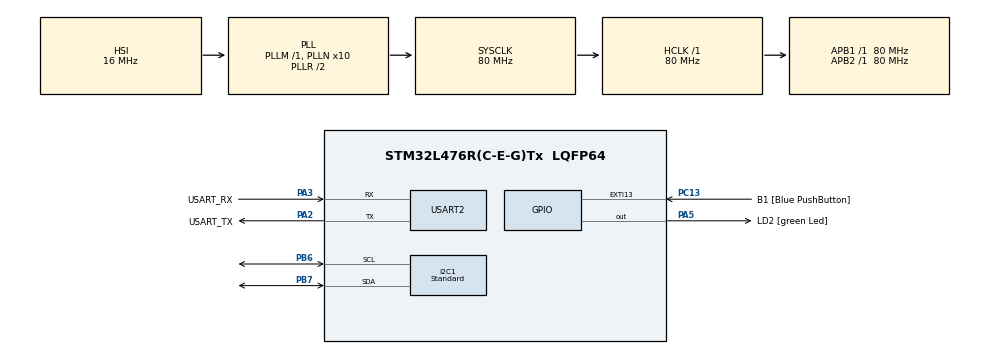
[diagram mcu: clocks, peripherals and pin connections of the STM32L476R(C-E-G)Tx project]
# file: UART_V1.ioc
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I2C1.I2C_Speed_Mode=I2C_Standard
I2C1.Timing=0x10D19CE4
Mcu.Family=STM32L4
Mcu.Name=STM32L476R(C-E-G)Tx
Mcu.Package=LQFP64
NVIC.PriorityGroup=NVIC_PRIORITYGROUP_4
PA13\ (JTMS-SWDIO).GPIO_Label=TMS
PA13\ (JTMS-SWDIO).Mode=Serial_Wire
PA13\ (JTMS-SWDIO).Signal=SYS_JTMS-SWDIO
PA14\ (JTCK-SWCLK).GPIO_Label=TCK
PA14\ (JTCK-SWCLK).Mode=Serial_Wire
PA14\ (JTCK-SWCLK).Signal=SYS_JTCK-SWCLK
PA2.GPIO_Label=USART_TX
PA2.GPIO_Mode=GPIO_MODE_AF_PP
PA2.GPIO_PuPd=GPIO_NOPULL
PA2.GPIO_Speed=GPIO_SPEED_FREQ_VERY_HIGH
PA2.Mode=Asynchronous
PA2.Signal=USART2_TX
PA3.GPIO_Label=USART_RX
PA3.GPIO_Mode=GPIO_MODE_AF_PP
PA3.GPIO_PuPd=GPIO_NOPULL
PA3.GPIO_Speed=GPIO_SPEED_FREQ_VERY_HIGH
PA3.Mode=Asynchronous
PA3.Signal=USART2_RX
PA5.GPIO_Label=LD2 [green Led]
PA5.GPIO_ModeDefaultOutputPP=GPIO_MODE_OUTPUT_PP
PA5.GPIO_PuPd=GPIO_NOPULL
PA5.GPIO_Speed=GPIO_SPEED_FREQ_LOW
PA5.Signal=GPIO_Output
PB3\ (JTDO-TRACESWO).GPIO_Label=SWO
PB3\ (JTDO-TRACESWO).Signal=SYS_JTDO-SWO
PB6.Mode=I2C
PB6.Signal=I2C1_SCL
PB7.Mode=I2C
PB7.Signal=I2C1_SDA
PC13.GPIO_Label=B1 [Blue PushButton]
PC13.GPIO_ModeDefaultEXTI=GPIO_MODE_IT_FALLING
PC13.GPIO_PuPd=GPIO_NOPULL
PC13.Signal=GPXTI13
PC14-OSC32_IN\ (PC14).Mode=LSE-External-Oscillator
PC14-OSC32_IN\ (PC14).Signal=RCC_OSC32_IN
PC15-OSC32_OUT\ (PC15).Mode=LSE-External-Oscillator
PC15-OSC32_OUT\ (PC15).Signal=RCC_OSC32_OUT
PH0-OSC_IN\ (PH0).Signal=RCC_OSC_IN
PH1-OSC_OUT\ (PH1).Signal=RCC_OSC_OUT
ProjectManager.HeapSize=0x200
ProjectManager.StackSize=0x400
ProjectManager.TargetToolchain=CMake
RCC.ADCFreq_Value=64000000
RCC.AHBFreq_Value=80000000
RCC.APB1Freq_Value=80000000
RCC.APB1TimFreq_Value=80000000
RCC.APB2Freq_Value=80000000
RCC.APB2TimFreq_Value=80000000
RCC.CortexFreq_Value=80000000
RCC.HCLKFreq_Value=80000000
RCC.HSE_VALUE=8000000
RCC.HSI_VALUE=16000000
RCC.MSI_VALUE=4000000
RCC.PLLN=10
RCC.PLLSourceVirtual=RCC_PLLSOURCE_HSI
RCC.PREFETCH_ENABLE=1
RCC.SYSCLKFreq_VALUE=80000000
RCC.SYSCLKSource=RCC_SYSCLKSOURCE_PLLCLK
RCC.USBFreq_Value=64000000
RCC.VCOOutputFreq_Value=160000000
USART2.VirtualMode-Asynchronous=VM_ASYNC
board=NUCLEO-L476RG

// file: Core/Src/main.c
/* USER CODE BEGIN Header */
/**
  ******************************************************************************
  * @file           : main.c
  * @brief          : Main program body
  ******************************************************************************
  * @attention
  *
  * Copyright (c) 2025 STMicroelectronics.
  * All rights reserved.
  *
  * This software is licensed under terms that can be found in the LICENSE file
  * in the root directory of this software component.
  * If no LICENSE file comes with this software, it is provided AS-IS.
  *
  ******************************************************************************
  */
/* USER CODE END Header */
#include "main.h"

/* USER CODE BEGIN Includes */
#include <string.h>
#include <stdio.h>
#include "bmp280.h"

/* USER CODE END Includes */

/* USER CODE BEGIN PTD */
#define uart_buffer_max 50

/* USER CODE END PTD */

I2C_HandleTypeDef hi2c1;

UART_HandleTypeDef huart2;

/* USER CODE BEGIN PV */
char msg[] = "Hello\n\r";
char recei_txt[uart_buffer_max];
BMP280_HandleTypedef bmp280;

float pressure, temperature, humidity;

uint16_t size;
uint8_t Data[256];
uint8_t str[256];

/* USER CODE END PV */

void SystemClock_Config(void);
static void MX_GPIO_Init(void);
static void MX_USART2_UART_Init(void);
static void MX_I2C1_Init(void);

int main(void)
{

  /* MCU Configuration--------------------------------------------------------*/

  /* Reset of all peripherals, Initializes the Flash interface and the Systick. */
  HAL_Init();

  /* Configure the system clock */
  SystemClock_Config();

  /* Initialize all configured peripherals */
  MX_GPIO_Init();
  MX_USART2_UART_Init();
  MX_I2C1_Init();
  /* USER CODE BEGIN 2 */
  bmp280_init_default_params(&bmp280.params);
	bmp280.addr = BMP280_I2C_ADDRESS_0;
	bmp280.i2c = &hi2c1;

	while (!bmp280_init(&bmp280, &bmp280.params)) {
		size = sprintf((char *)Data, "BMP280 initialization failed\n");
		HAL_UART_Transmit(&huart2, Data, size, 1000);
		HAL_Delay(2000);
	}
	bool bme280p = bmp280.id == BME280_CHIP_ID;
	size = sprintf((char *)Data, "BMP280: found %s\n", bme280p ? "BME280" : "BMP280");
	HAL_UART_Transmit(&huart2, Data, size, 1000);
  /* USER CODE END 2 */

  /* Infinite loop */
  /* USER CODE BEGIN WHILE */
  while (1)
  {
    //HAL_UART_Transmit(&huart2, (uint8_t*)msg, strlen(msg), HAL_MAX_DELAY); // (uint8_t*)
    //HAL_Delay(1000);
    //HAL_UART_Receive(&huart2, (uint8_t*)recei_txt, uart_buffer_max, 5000);
    //HAL_UART_Transmit(&huart2, (uint8_t*)recei_txt, strlen(recei_txt), HAL_MAX_DELAY);
    /* float a = 136.89;
    //int b = (int)a;
    uint8_t str[30];
    size = sprintf((char *)str,"%f\n\r",a);
    HAL_UART_Transmit(&huart2, str, size, HAL_MAX_DELAY);
    HAL_Delay(1000); */
    /* USER CODE END WHILE */

    /* USER CODE BEGIN 3 */
    HAL_Delay(100);
		while (!bmp280_read_float(&bmp280, &temperature, &pressure, &humidity)) {
			size = sprintf((char *)Data,
					"Temperature/pressure reading failed\n");
			HAL_UART_Transmit(&huart2, Data, size, 1000);
			HAL_Delay(2000);
		}

		size = sprintf((char *)Data,"Pressure: %f Pa, Temperature: %f C", pressure , temperature);
		HAL_UART_Transmit(&huart2, Data, size, 1000);
		if (bme280p) {
			size = sprintf((char *)Data,", Humidity: %f\n\r", humidity);
			HAL_UART_Transmit(&huart2, Data, size, 1000);
		}

		else {
			size = sprintf((char *)Data, "\n\r");
			HAL_UART_Transmit(&huart2, Data, size, 1000);
		}
		HAL_Delay(2000);
  }
  /* USER CODE END 3 */
}

void SystemClock_Config(void)
{
  RCC_OscInitTypeDef RCC_OscInitStruct = {0};
  RCC_ClkInitTypeDef RCC_ClkInitStruct = {0};

  /** Configure the main internal regulator output voltage
  */
  if (HAL_PWREx_ControlVoltageScaling(PWR_REGULATOR_VOLTAGE_SCALE1) != HAL_OK)
  {
    Error_Handler();
  }

  /** Initializes the RCC Oscillators according to the specified parameters
  * in the RCC_OscInitTypeDef structure.
  */
  RCC_OscInitStruct.OscillatorType = RCC_OSCILLATORTYPE_HSI;
  RCC_OscInitStruct.HSIState = RCC_HSI_ON;
  RCC_OscInitStruct.HSICalibrationValue = RCC_HSICALIBRATION_DEFAULT;
  RCC_OscInitStruct.PLL.PLLState = RCC_PLL_ON;
  RCC_OscInitStruct.PLL.PLLSource = RCC_PLLSOURCE_HSI;
  RCC_OscInitStruct.PLL.PLLM = 1;
  RCC_OscInitStruct.PLL.PLLN = 10;
  RCC_OscInitStruct.PLL.PLLP = RCC_PLLP_DIV7;
  RCC_OscInitStruct.PLL.PLLQ = RCC_PLLQ_DIV2;
  RCC_OscInitStruct.PLL.PLLR = RCC_PLLR_DIV2;
  if (HAL_RCC_OscConfig(&RCC_OscInitStruct) != HAL_OK)
  {
    Error_Handler();
  }

  /** Initializes the CPU, AHB and APB buses clocks
  */
  RCC_ClkInitStruct.ClockType = RCC_CLOCKTYPE_HCLK|RCC_CLOCKTYPE_SYSCLK
                              |RCC_CLOCKTYPE_PCLK1|RCC_CLOCKTYPE_PCLK2;
  RCC_ClkInitStruct.SYSCLKSource = RCC_SYSCLKSOURCE_PLLCLK;
  RCC_ClkInitStruct.AHBCLKDivider = RCC_SYSCLK_DIV1;
  RCC_ClkInitStruct.APB1CLKDivider = RCC_HCLK_DIV1;
  RCC_ClkInitStruct.APB2CLKDivider = RCC_HCLK_DIV1;

  if (HAL_RCC_ClockConfig(&RCC_ClkInitStruct, FLASH_LATENCY_4) != HAL_OK)
  {
    Error_Handler();
  }
}

static void MX_I2C1_Init(void)
{

  hi2c1.Instance = I2C1;
  hi2c1.Init.Timing = 0x10D19CE4;
  hi2c1.Init.OwnAddress1 = 0;
  hi2c1.Init.AddressingMode = I2C_ADDRESSINGMODE_7BIT;
  hi2c1.Init.DualAddressMode = I2C_DUALADDRESS_DISABLE;
  hi2c1.Init.OwnAddress2 = 0;
  hi2c1.Init.OwnAddress2Masks = I2C_OA2_NOMASK;
  hi2c1.Init.GeneralCallMode = I2C_GENERALCALL_DISABLE;
  hi2c1.Init.NoStretchMode = I2C_NOSTRETCH_DISABLE;
  if (HAL_I2C_Init(&hi2c1) != HAL_OK)
  {
    Error_Handler();
  }

  /** Configure Analogue filter
  */
  if (HAL_I2CEx_ConfigAnalogFilter(&hi2c1, I2C_ANALOGFILTER_ENABLE) != HAL_OK)
  {
    Error_Handler();
  }

  /** Configure Digital filter
  */
  if (HAL_I2CEx_ConfigDigitalFilter(&hi2c1, 0) != HAL_OK)
  {
    Error_Handler();
  }

}

static void MX_USART2_UART_Init(void)
{

  huart2.Instance = USART2;
  huart2.Init.BaudRate = 115200;
  huart2.Init.WordLength = UART_WORDLENGTH_8B;
  huart2.Init.StopBits = UART_STOPBITS_1;
  huart2.Init.Parity = UART_PARITY_NONE;
  huart2.Init.Mode = UART_MODE_TX_RX;
  huart2.Init.HwFlowCtl = UART_HWCONTROL_NONE;
  huart2.Init.OverSampling = UART_OVERSAMPLING_16;
  huart2.Init.OneBitSampling = UART_ONE_BIT_SAMPLE_DISABLE;
  huart2.AdvancedInit.AdvFeatureInit = UART_ADVFEATURE_NO_INIT;
  if (HAL_UART_Init(&huart2) != HAL_OK)
  {
    Error_Handler();
  }

}

static void MX_GPIO_Init(void)
{
  GPIO_InitTypeDef GPIO_InitStruct = {0};

  /* GPIO Ports Clock Enable */
  __HAL_RCC_GPIOC_CLK_ENABLE();
  __HAL_RCC_GPIOH_CLK_ENABLE();
  __HAL_RCC_GPIOA_CLK_ENABLE();
  __HAL_RCC_GPIOB_CLK_ENABLE();

  /*Configure GPIO pin Output Level */
  HAL_GPIO_WritePin(LD2_GPIO_Port, LD2_Pin, GPIO_PIN_RESET);

  /*Configure GPIO pin : B1_Pin */
  GPIO_InitStruct.Pin = B1_Pin;
  GPIO_InitStruct.Mode = GPIO_MODE_IT_FALLING;
  GPIO_InitStruct.Pull = GPIO_NOPULL;
  HAL_GPIO_Init(B1_GPIO_Port, &GPIO_InitStruct);

  /*Configure GPIO pin : LD2_Pin */
  GPIO_InitStruct.Pin = LD2_Pin;
  GPIO_InitStruct.Mode = GPIO_MODE_OUTPUT_PP;
  GPIO_InitStruct.Pull = GPIO_NOPULL;
  GPIO_InitStruct.Speed = GPIO_SPEED_FREQ_LOW;
  HAL_GPIO_Init(LD2_GPIO_Port, &GPIO_InitStruct);

}

void Error_Handler(void)
{
  __disable_irq();
  while (1)
  {
  }
}
